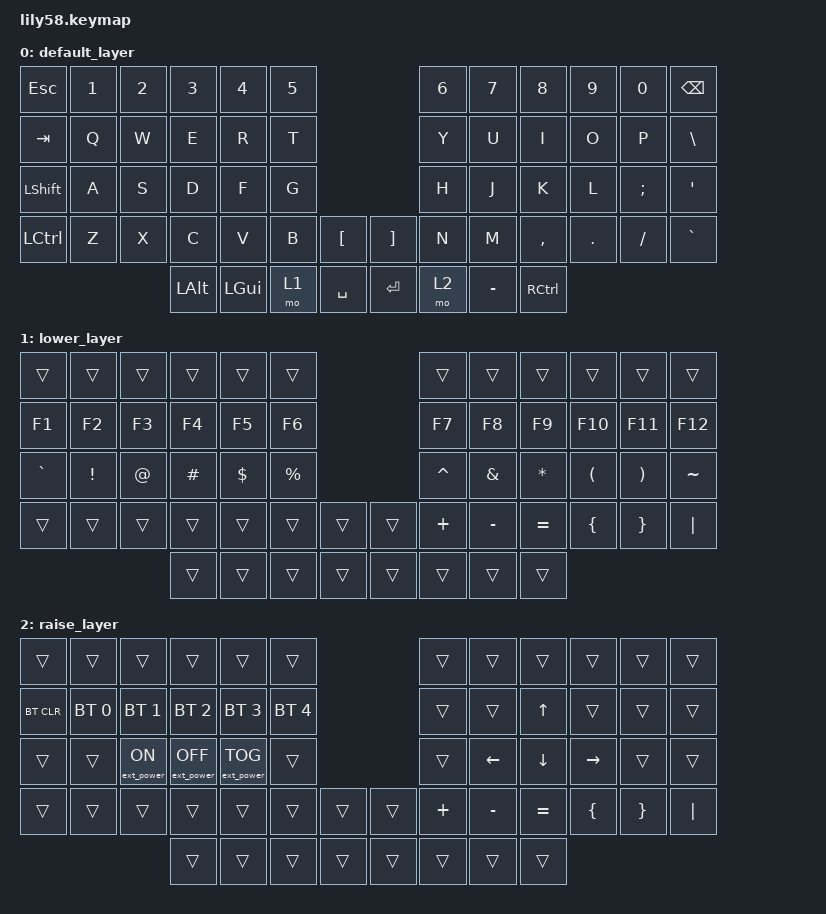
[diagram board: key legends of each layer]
/*
  * Copyright (c) 2020 The ZMK Contributors
  *
  * SPDX-License-Identifier: MIT
  */
 
 #include <behaviors.dtsi>
 #include <dt-bindings/zmk/keys.h>
 #include <dt-bindings/zmk/bt.h>
 #include <dt-bindings/zmk/ext_power.h>
 
 / {
 	keymap {
 		compatible = "zmk,keymap";
 
 		default_layer {
 // ------------------------------------------------------------------------------------------------------------
 // |  ESC  |  1  |  2  |  3   |  4   |  5   |                   |  6   |  7    |  8    |  9   |   0   |  BSPC |
 // |  TAB  |  Q  |  W  |  E   |  R   |  T   |                   |  Y   |  U    |  I    |  O   |   P   |   \   |
 // | SHIFT |  A  |  S  |  D   |  F   |  G   |                   |  H   |  J    |  K    |  L   |   ;   |  '    |
 // |  CTRL |  Z  |  X  |  C   |  V   |  B   |   "["  |  |  "]"  |  N   |  M    |  ,    |  .   |   /   |   `   |
 //                  | ALT  | GUI  | LOWER| SPACE  |              | ENTER | RAISE|  -  | CTRL  |
 			bindings = <
 &kp ESC   &kp N1 &kp N2 &kp N3   &kp N4   &kp N5                       &kp N6 &kp N7    &kp N8    &kp N9  &kp N0   &kp BSPC
 &kp TAB   &kp Q  &kp W  &kp E    &kp R    &kp T                        &kp Y  &kp U     &kp I     &kp O   &kp P    &kp BSLH
 &kp LSHFT &kp A  &kp S  &kp D    &kp F    &kp G                        &kp H  &kp J     &kp K     &kp L   &kp SEMI &kp SQT
 &kp LCTRL &kp Z  &kp X  &kp C    &kp V    &kp B  &kp LBKT   &kp RBKT   &kp N  &kp M     &kp COMMA &kp DOT &kp FSLH &kp GRAVE
                         &kp LALT &kp LGUI &mo 1  &kp SPACE  &kp RET  &mo 2  &kp MINUS &kp RCTRL
 			>;
 		};
 
 		lower_layer {
 // ------------------------------------------------------------------------------------------------------------
 // |       |     |     |      |      |      |                   |      |       |       |      |       |       |
 // |  F1   |  F2 |  F3 |  F4  |  F5  |  F6  |                   |  F7  |  F8   |  F9   |  F10 |  F11  |  F12  |
 // |   `   |  !  |  @  |  #   |  $   |  %   |                   |  ^   |  &    |  *    |  (   |   )   |   ~   |
 // |       |     |     |      |      |      |        |  |       |  +   |  -    |  =    |  {   |   }   |  "|"  |
 //                     |      |      |      |        |  |       |      |       |       |
 			bindings = <
 &trans     &trans           &trans            &trans            &trans       &trans                       &trans       &trans    &trans          &trans    &trans    &trans
 &kp F1     &kp F2           &kp F3            &kp F4            &kp F5       &kp F6                       &kp F7       &kp F8    &kp F9          &kp F10   &kp F11   &kp F12
 &kp GRAVE  &kp EXCL         &kp AT            &kp HASH          &kp DOLLAR   &kp PRCNT                    &kp CARET    &kp AMPS  &kp ASTERISK    &kp LPAR  &kp RPAR  &kp TILDE
 &trans     &trans           &trans            &trans            &trans       &trans    &trans   &trans    &kp PLUS     &kp MINUS &kp EQUAL       &kp LBRC  &kp RBRC  &kp PIPE
                                               &trans            &trans       &trans    &trans   &trans    &trans       &trans    &trans
 			>;
 		};
 
 		raise_layer {
 // -----------------------------------------------------------------------------------------------------------------------------
 // |        |           |         |         |         |      |                   |      |      |       |       |       |       |
 // | BT CLR |    BT1    |   BT2   |   BT3   |  BT4    |  BT5 |                   |      |      |   ^   |       |       |       |
 // |        |           | EXT ON  | EXT OFF | EXT TOG |      |                   |      |  <-  |   v   |  ->   |       |       |
 // |        |           |         |         |         |      |        |  |       |  +   |  -   |   =   |   {   |   }   |  "|"  |
 //                                |         |         |      |        |  |       |      |      |       |
 			bindings = <
 &trans           &trans            &trans            &trans            &trans            &trans                                &trans    &trans      &trans    &trans    &trans    &trans
 &bt BT_CLR       &bt BT_SEL 0      &bt BT_SEL 1      &bt BT_SEL 2      &bt BT_SEL 3      &bt BT_SEL 4                          &trans    &trans      &kp UP    &trans    &trans    &trans
 &trans           &trans            &ext_power EP_ON  &ext_power EP_OFF &ext_power EP_TOG &trans                                &trans    &kp LEFT    &kp DOWN  &kp RIGHT &trans    &trans
 &trans           &trans            &trans            &trans            &trans            &trans       &trans       &trans      &kp PLUS  &kp MINUS   &kp EQUAL &kp LBRC  &kp RBRC  &kp PIPE
                                                      &trans            &trans            &trans       &trans       &trans      &trans    &trans      &trans
 			>;
 		};
 	};
 };
